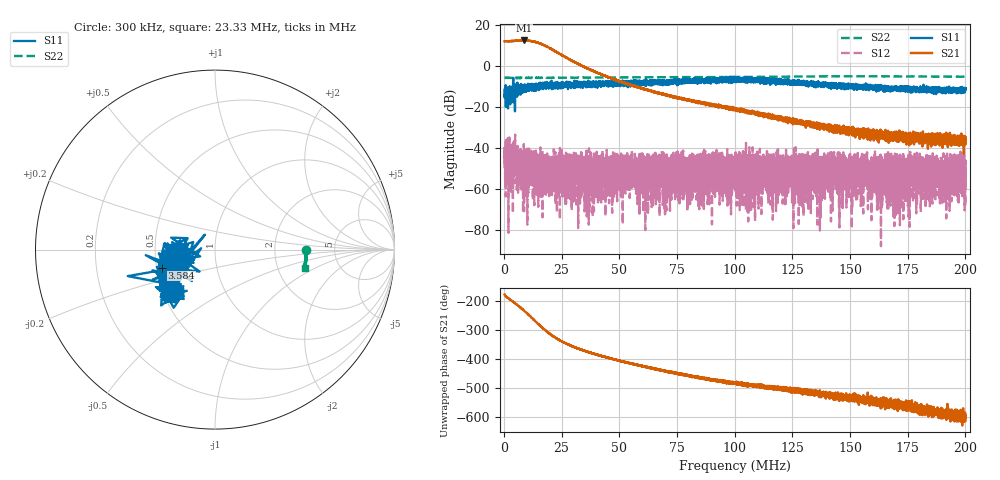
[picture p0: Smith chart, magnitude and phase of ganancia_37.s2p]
# Hz S DB R 50
! CMT, M5065, 19127446, 24.2.4/2
! Date: 11/8/2024 5:14:44 PM
! Data: Format (Calibration Info)
! Freq	S11:dB/Ang(F2)	S21:dB/Ang(F2)	S12:dB/Ang(F2)	S22:dB/Ang(F2)
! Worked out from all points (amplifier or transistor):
!   9000 points, 300 kHz to 200 MHz, reference 50 ohm
!   highest |S21| = 12.4 dB at 8.666 MHz (marker M1)
!   |S21| within 3 dB of that: start of sweep to 18.59 MHz
!   unconditionally stable (mu >= 1): start of sweep to end of sweep
!   at 33.59 MHz: K = 196.47, MAG = 2.0 dB, |S12| = -55.8 dB
!   at 100.2 MHz: K = 1073.13, MAG = -18.0 dB, |S12| = -51.2 dB
!   at 200 MHz: K = 14831.21, MAG = -33.1 dB, |S12| = -58.3 dB
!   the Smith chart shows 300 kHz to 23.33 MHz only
!   S11 on the Smith chart (normalised r, x): 300 kHz: 0.68, -0.02; 3.584 MHz: 0.53, -0.12; 23.33 MHz: 0.59, -0.27
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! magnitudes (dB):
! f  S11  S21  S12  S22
! 300 kHz  -14.4  12.0  -50.0  -5.9
! 3.584 MHz  -10.1  12.1  -45.0  -5.9
! 5.116 MHz  -14.0  12.2  -47.8  -5.9
! 8.666 MHz  -9.9  12.4  -48.3  -5.9
! 9.975 MHz  -11.4  12.3  -40.4  -5.9
! 11.99 MHz  -8.7  12.1  -46.2  -5.9
! 13.93 MHz  -10.3  11.6  -53.4  -5.9
! 23.33 MHz  -10.3  6.4  -46.7  -5.8
! 24.69 MHz  -9.1  5.5  -55.9  -5.8
! 28.42 MHz  -9.5  3.1  -61.6  -5.8
! 33.59 MHz  -9.1  0.1  -55.8  -5.8
! 66.87 MHz  -8.0  -13.2  -48.3  -5.5
! 100.2 MHz  -6.4  -20.6  -51.2  -5.4
! 133.4 MHz  -8.8  -28.3  -52.0  -5.2
! 151.7 MHz  -9.9  -33.1  -48.2  -5.1
! 156.7 MHz  -10.7  -34.1  -52.0  -5.1
! 158.6 MHz  -10.8  -33.5  -53.9  -5.1
! 160.5 MHz  -11.6  -32.1  -54.9  -5.1
! 166.7 MHz  -11.0  -34.5  -52.6  -5.1
! 193.6 MHz  -12.1  -35.7  -48.9  -5.3
! 198.2 MHz  -11.7  -37.0  -54.7  -5.3
! 200 MHz  -10.9  -35.0  -58.3  -5.3
